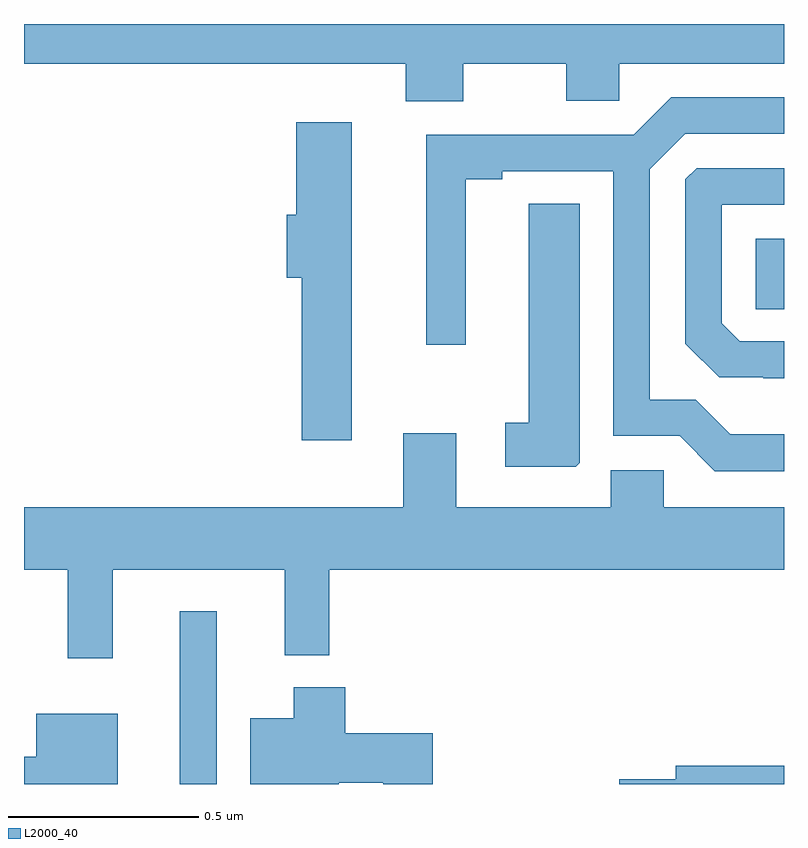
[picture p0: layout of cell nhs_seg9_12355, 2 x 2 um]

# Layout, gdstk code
import gdstk
lib = gdstk.Library(unit=1e-6, precision=1e-09)
def R(c, l, rs):  # rectangles x0, y0, x1, y1
    for r in rs: c.add(gdstk.rectangle(r[:2], r[2:], *l))
def P(c, l, *ps):  # polygons
    for p in ps: c.add(gdstk.Polygon(p, *l))
L2000_40 = (2000, 40)

nhs_seg9_12355 = lib.new_cell('nhs_seg9_12355')
R(nhs_seg9_12355, L2000_40, [(267.41,1218.5,267.507,1218.955), (268.926,1219.75,269,1219.935)])
P(nhs_seg9_12355, L2000_40, [(268.156,1220.396),(268.427,1220.396),(268.427,1220.298),(268.566,1220.298),(268.566,1220.396),(269,1220.396),(269,1220.5),(267,1220.5),(267,1220.396),(268.004,1220.396),(268.004,1220.297),(268.156,1220.297)],
  [(269,1219.42),(268.859,1219.42),(268.768,1219.511),(268.647,1219.511),(268.647,1220.118),(268.74,1220.211),(269,1220.211),(269,1220.307),(268.703,1220.307),(268.604,1220.208),(268.058,1220.208),(268.058,1219.656),(268.162,1219.656),(268.162,1220.092),(268.258,1220.092),(268.258,1220.112),(268.551,1220.112),(268.551,1219.416),(268.725,1219.416),(268.818,1219.323),(269,1219.323)],
  [(267.862,1220.242),(267.716,1220.242),(267.716,1219.998),(267.692,1219.998),(267.692,1219.832),(267.731,1219.832),(267.731,1219.404),(267.862,1219.404)],
  [(269,1219.665),(268.884,1219.665),(268.836,1219.713),(268.836,1220.025),(269,1220.025),(269,1220.121),(268.77,1220.121),(268.74,1220.091),(268.74,1219.659),(268.829,1219.57),(268.945,1219.57),(268.945,1219.568),(269,1219.568)],
  [(268.462,1219.345),(268.462,1220.027),(268.328,1220.027),(268.328,1219.451),(268.266,1219.451),(268.266,1219.335),(268.452,1219.335)],
  [(267.233,1219.064),(267.686,1219.064),(267.686,1218.839),(267.803,1218.839),(267.803,1219.064),(269,1219.064),(269,1219.228),(268.683,1219.228),(268.683,1219.326),(268.544,1219.326),(268.544,1219.228),(268.138,1219.228),(268.138,1219.423),(267.998,1219.423),(267.998,1219.228),(267,1219.228),(267,1219.064),(267.115,1219.064),(267.115,1218.831),(267.233,1218.831)],
  [(267.828,1218.503),(267.945,1218.503),(267.945,1218.5),(268.075,1218.5),(268.075,1218.633),(267.845,1218.633),(267.845,1218.754),(267.71,1218.754),(267.71,1218.673),(267.596,1218.673),(267.596,1218.5),(267.828,1218.5)],
  [(267.247,1218.685),(267.032,1218.685),(267.032,1218.572),(267,1218.572),(267,1218.5),(267.247,1218.5)],
  [(269,1218.548),(268.715,1218.548),(268.715,1218.512),(268.566,1218.512),(268.566,1218.5),(269,1218.5)])

lib.write_gds('nhs_seg9_12355.gds')
